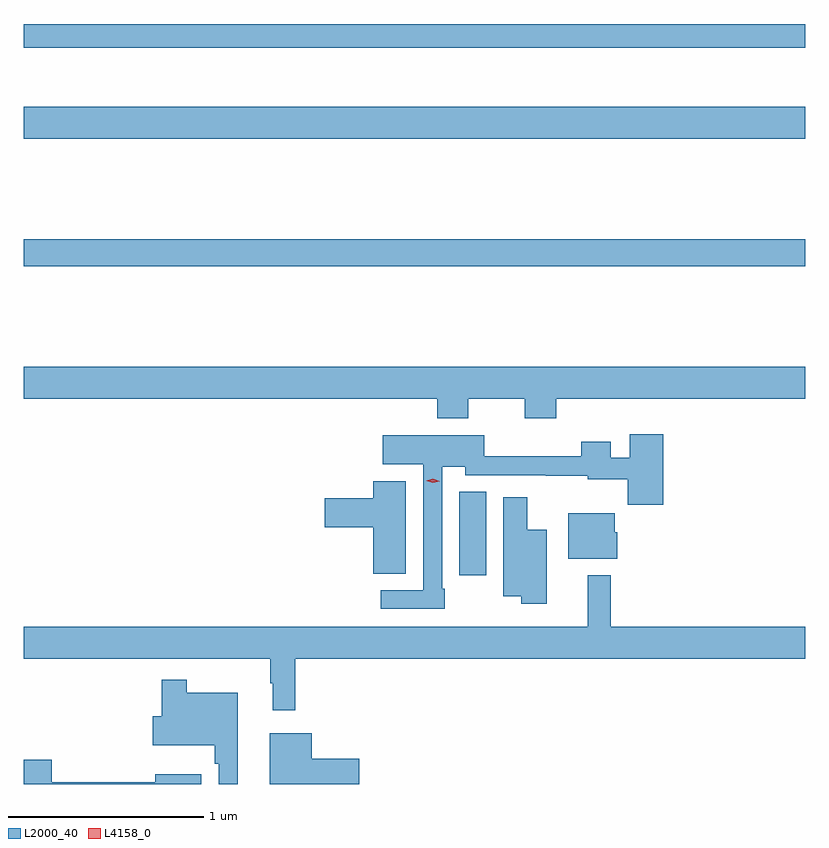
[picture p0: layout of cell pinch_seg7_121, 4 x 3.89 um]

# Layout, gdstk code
import gdstk
lib = gdstk.Library(unit=1e-6, precision=1e-09)
def R(c, l, rs):  # rectangles x0, y0, x1, y1
    for r in rs: c.add(gdstk.rectangle(r[:2], r[2:], *l))
def P(c, l, *ps):  # polygons
    for p in ps: c.add(gdstk.Polygon(p, *l))
L2000_40 = (2000, 40)
L4158_0 = (4158, 0)

pinch_seg7_121 = lib.new_cell('pinch_seg7_121')
R(pinch_seg7_121, L2000_40, [(916.607,1023.69,916.744,1024.115), (914.377,1025.272,918.377,1025.408), (914.377,1025.924,918.377,1026.088), (914.377,1026.39,918.377,1026.511)])
P(pinch_seg7_121, L2000_40, [(916.653,1024.592),(916.942,1024.592),(916.942,1024.493),(917.102,1024.493),(917.102,1024.592),(918.377,1024.592),(918.377,1024.756),(914.377,1024.756),(914.377,1024.592),(916.493,1024.592),(916.493,1024.493),(916.653,1024.493)],
  [(916.531,1023.619),(916.518,1023.619),(916.518,1024.244),(916.638,1024.244),(916.638,1024.2),(917.05,1024.2),(917.05,1024.199),(917.265,1024.199),(917.265,1024.181),(917.47,1024.181),(917.47,1024.05),(917.651,1024.05),(917.651,1024.411),(917.48,1024.411),(917.48,1024.291),(917.383,1024.291),(917.383,1024.372),(917.231,1024.372),(917.231,1024.298),(916.734,1024.298),(916.734,1024.405),(916.215,1024.405),(916.215,1024.256),(916.422,1024.256),(916.422,1023.612),(916.203,1023.612),(916.203,1023.516),(916.531,1023.516)],
  [(916.333,1024.171),(916.166,1024.171),(916.166,1024.082),(915.918,1024.082),(915.918,1023.935),(916.166,1023.935),(916.166,1023.697),(916.333,1023.697)],
  [(917.053,1023.922),(916.954,1023.922),(916.954,1024.087),(916.832,1024.087),(916.832,1023.581),(916.924,1023.581),(916.924,1023.542),(917.053,1023.542)],
  [(917.416,1023.909),(917.402,1023.909),(917.402,1024.005),(917.165,1024.005),(917.165,1023.773),(917.416,1023.773)],
  [(915.767,1023.26),(918.377,1023.26),(918.377,1023.424),(917.381,1023.424),(917.381,1023.688),(917.264,1023.688),(917.264,1023.424),(914.377,1023.424),(914.377,1023.26),(915.639,1023.26),(915.639,1023.137),(915.65,1023.137),(915.65,1022.997),(915.767,1022.997)],
  [(915.472,1023.088),(915.211,1023.088),(915.211,1023.154),(915.082,1023.154),(915.082,1022.967),(915.038,1022.967),(915.038,1022.819),(915.355,1022.819),(915.355,1022.723),(915.375,1022.723),(915.375,1022.62),(915.472,1022.62)],
  [(916.093,1022.75),(915.85,1022.75),(915.85,1022.881),(915.635,1022.881),(915.635,1022.62),(916.093,1022.62)],
  [(915.286,1022.671),(915.05,1022.671),(915.05,1022.63),(914.519,1022.63),(914.519,1022.744),(914.377,1022.744),(914.377,1022.62),(915.286,1022.62)])
P(pinch_seg7_121, L4158_0, [(916.47,1024.162),(916.436,1024.173),(916.436,1024.173),(916.436,1024.173),(916.471,1024.182),(916.505,1024.17),(916.506,1024.17),(916.505,1024.17)])

lib.write_gds('pinch_seg7_121.gds')
